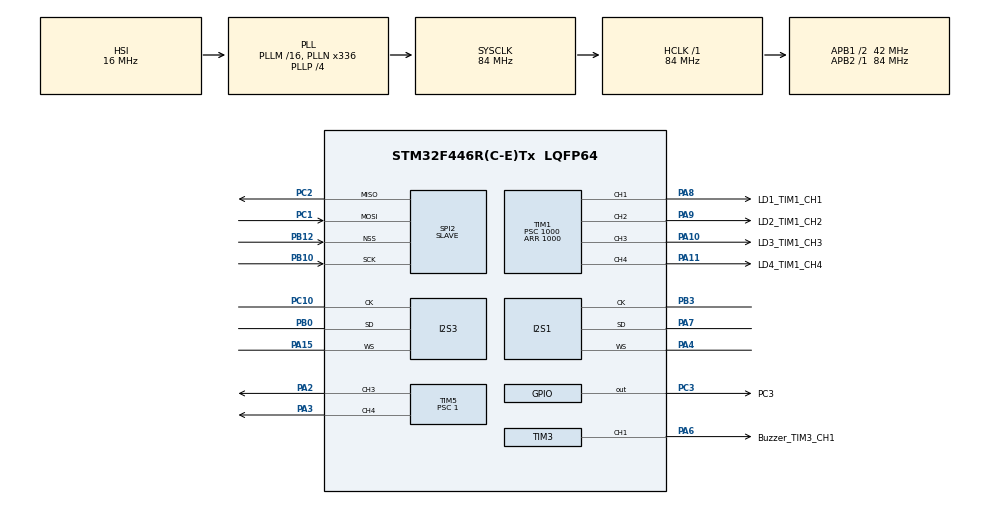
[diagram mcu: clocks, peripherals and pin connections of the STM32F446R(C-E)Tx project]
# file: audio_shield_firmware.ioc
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Dma.Request0=SPI3_RX
Dma.Request1=SPI1_RX
Dma.Request2=SPI2_RX
Dma.Request3=SPI2_TX
Dma.SPI1_RX.1.Direction=DMA_PERIPH_TO_MEMORY
Dma.SPI1_RX.1.FIFOMode=DMA_FIFOMODE_DISABLE
Dma.SPI1_RX.1.Instance=DMA2_Stream0
Dma.SPI1_RX.1.MemDataAlignment=DMA_MDATAALIGN_HALFWORD
Dma.SPI1_RX.1.MemInc=DMA_MINC_ENABLE
Dma.SPI1_RX.1.Mode=DMA_CIRCULAR
Dma.SPI1_RX.1.PeriphDataAlignment=DMA_PDATAALIGN_HALFWORD
Dma.SPI1_RX.1.PeriphInc=DMA_PINC_DISABLE
Dma.SPI1_RX.1.Priority=DMA_PRIORITY_LOW
Dma.SPI2_RX.2.Direction=DMA_PERIPH_TO_MEMORY
Dma.SPI2_RX.2.FIFOMode=DMA_FIFOMODE_DISABLE
Dma.SPI2_RX.2.Instance=DMA1_Stream3
Dma.SPI2_RX.2.MemDataAlignment=DMA_MDATAALIGN_BYTE
Dma.SPI2_RX.2.MemInc=DMA_MINC_ENABLE
Dma.SPI2_RX.2.Mode=DMA_CIRCULAR
Dma.SPI2_RX.2.PeriphDataAlignment=DMA_PDATAALIGN_BYTE
Dma.SPI2_RX.2.PeriphInc=DMA_PINC_DISABLE
Dma.SPI2_RX.2.Priority=DMA_PRIORITY_LOW
Dma.SPI2_TX.3.Direction=DMA_MEMORY_TO_PERIPH
Dma.SPI2_TX.3.FIFOMode=DMA_FIFOMODE_DISABLE
Dma.SPI2_TX.3.Instance=DMA1_Stream4
Dma.SPI2_TX.3.MemDataAlignment=DMA_MDATAALIGN_BYTE
Dma.SPI2_TX.3.MemInc=DMA_MINC_ENABLE
Dma.SPI2_TX.3.Mode=DMA_CIRCULAR
Dma.SPI2_TX.3.PeriphDataAlignment=DMA_PDATAALIGN_BYTE
Dma.SPI2_TX.3.PeriphInc=DMA_PINC_DISABLE
Dma.SPI2_TX.3.Priority=DMA_PRIORITY_LOW
Dma.SPI3_RX.0.Direction=DMA_PERIPH_TO_MEMORY
Dma.SPI3_RX.0.FIFOMode=DMA_FIFOMODE_DISABLE
Dma.SPI3_RX.0.Instance=DMA1_Stream0
Dma.SPI3_RX.0.MemDataAlignment=DMA_MDATAALIGN_HALFWORD
Dma.SPI3_RX.0.MemInc=DMA_MINC_ENABLE
Dma.SPI3_RX.0.Mode=DMA_CIRCULAR
Dma.SPI3_RX.0.PeriphDataAlignment=DMA_PDATAALIGN_HALFWORD
Dma.SPI3_RX.0.PeriphInc=DMA_PINC_DISABLE
Dma.SPI3_RX.0.Priority=DMA_PRIORITY_LOW
I2S1.AudioFreq=I2S_AUDIOFREQ_48K
I2S1.DataFormat=I2S_DATAFORMAT_16B_EXTENDED
I2S1.ErrorAudioFreq=0.8 %
I2S1.FullDuplexMode=I2S_FULLDUPLEXMODE_DISABLE
I2S1.Instance=SPI$Index
I2S1.Mode=I2S_MODE_MASTER_RX
I2S1.RealAudioFreq=48.387 KHz
I2S1.VirtualMode=I2S_MODE_MASTER
I2S3.AudioFreq=I2S_AUDIOFREQ_48K
I2S3.DataFormat=I2S_DATAFORMAT_16B_EXTENDED
I2S3.ErrorAudioFreq=0.8 %
I2S3.FullDuplexMode=I2S_FULLDUPLEXMODE_DISABLE
I2S3.Instance=SPI$Index
I2S3.Mode=I2S_MODE_MASTER_RX
I2S3.RealAudioFreq=48.387 KHz
I2S3.VirtualMode=I2S_MODE_MASTER
Mcu.Family=STM32F4
Mcu.Name=STM32F446R(C-E)Tx
Mcu.Package=LQFP64
NVIC.DMA1_Stream0_IRQn=true\:0\:0\:false\:false\:true\:false\:true
NVIC.DMA1_Stream3_IRQn=true\:0\:0\:false\:false\:true\:false\:true
NVIC.DMA1_Stream4_IRQn=true\:0\:0\:false\:false\:true\:false\:true
NVIC.DMA2_Stream0_IRQn=true\:0\:0\:false\:false\:true\:false\:true
NVIC.PriorityGroup=NVIC_PRIORITYGROUP_0
NVIC.SPI2_IRQn=true\:0\:0\:false\:false\:true\:true\:true
PA10.GPIO_Label=LD3_TIM1_CH3
PA10.Signal=S_TIM1_CH3
PA11.GPIO_Label=LD4_TIM1_CH4
PA11.Signal=S_TIM1_CH4
PA13.GPIO_Label=TMS
PA13.Mode=Serial_Wire
PA13.Signal=SYS_JTMS-SWDIO
PA14.GPIO_Label=TCK
PA14.Mode=Serial_Wire
PA14.Signal=SYS_JTCK-SWCLK
PA15.Mode=Half_Duplex_Master
PA15.Signal=I2S3_WS
PA2.Signal=S_TIM5_CH3
PA3.Signal=S_TIM5_CH4
PA4.Mode=Half_Duplex_Master
PA4.Signal=I2S1_WS
PA6.GPIO_Label=Buzzer_TIM3_CH1
PA6.Signal=S_TIM3_CH1
PA7.Mode=Half_Duplex_Master
PA7.Signal=I2S1_SD
PA8.GPIO_Label=LD1_TIM1_CH1
PA8.Signal=S_TIM1_CH1
PA9.GPIO_Label=LD2_TIM1_CH2
PA9.Signal=S_TIM1_CH2
PB0.Mode=Half_Duplex_Master
PB0.Signal=I2S3_SD
PB10.GPIO_PuPd=GPIO_NOPULL
PB10.Mode=Full_Duplex_Slave
PB10.Signal=SPI2_SCK
PB12.Mode=NSS_Signal_Hard_Input
PB12.Signal=SPI2_NSS
PB3.Mode=Half_Duplex_Master
PB3.Signal=I2S1_CK
PC1.GPIO_PuPd=GPIO_NOPULL
PC1.Mode=Full_Duplex_Slave
PC1.Signal=SPI2_MOSI
PC10.Mode=Half_Duplex_Master
PC10.Signal=I2S3_CK
PC14-OSC32_IN.Mode=LSE-External-Oscillator
PC14-OSC32_IN.Signal=RCC_OSC32_IN
PC15-OSC32_OUT.Mode=LSE-External-Oscillator
PC15-OSC32_OUT.Signal=RCC_OSC32_OUT
PC2.GPIO_PuPd=GPIO_NOPULL
PC2.Mode=Full_Duplex_Slave
PC2.Signal=SPI2_MISO
PC3.GPIO_Label=PC3
PC3.GPIO_Speed=GPIO_SPEED_FREQ_VERY_HIGH
PC3.Signal=GPIO_Output
PH0-OSC_IN.Mode=HSE-External-Oscillator
PH0-OSC_IN.Signal=RCC_OSC_IN
PH1-OSC_OUT.Mode=HSE-External-Oscillator
PH1-OSC_OUT.Signal=RCC_OSC_OUT
ProjectManager.HeapSize=0x200
ProjectManager.StackSize=0x400
ProjectManager.TargetToolchain=STM32CubeIDE
RCC.48MHZClocksFreq_Value=84000000
RCC.AHBFreq_Value=84000000
RCC.APB1CLKDivider=RCC_HCLK_DIV2
RCC.APB1Freq_Value=42000000
RCC.APB1TimFreq_Value=84000000
RCC.APB2Freq_Value=84000000
RCC.APB2TimFreq_Value=84000000
RCC.CortexFreq_Value=84000000
RCC.FLatency-AdvancedSettings=FLASH_LATENCY_2
RCC.HCLKFreq_Value=84000000
RCC.HSE_VALUE=8000000
RCC.HSI_VALUE=16000000
RCC.PLLN=336
RCC.PLLP=RCC_PLLP_DIV4
RCC.SYSCLKFreq_VALUE=84000000
RCC.SYSCLKSource=RCC_SYSCLKSOURCE_PLLCLK
RCC.USBFreq_Value=168000000
RCC.VCOOutputFreq_Value=336000000
SH.S_TIM1_CH1.0=TIM1_CH1,PWM Generation1 CH1
SH.S_TIM1_CH2.0=TIM1_CH2,PWM Generation2 CH2
SH.S_TIM1_CH3.0=TIM1_CH3,PWM Generation3 CH3
SH.S_TIM1_CH4.0=TIM1_CH4,PWM Generation4 CH4
SH.S_TIM3_CH1.0=TIM3_CH1,PWM Generation1 CH1
SH.S_TIM5_CH3.0=TIM5_CH3,PWM Generation3 CH3
SH.S_TIM5_CH4.0=TIM5_CH4,PWM Generation4 CH4
SPI2.DataSize=SPI_DATASIZE_8BIT
SPI2.Direction=SPI_DIRECTION_2LINES
SPI2.Mode=SPI_MODE_SLAVE
SPI2.VirtualNSS=VM_NSSHARD
SPI2.VirtualType=VM_SLAVE
TIM1.Channel-PWM\ Generation1\ CH1=TIM_CHANNEL_1
TIM1.Channel-PWM\ Generation2\ CH2=TIM_CHANNEL_2
TIM1.Channel-PWM\ Generation3\ CH3=TIM_CHANNEL_3
TIM1.Channel-PWM\ Generation4\ CH4=TIM_CHANNEL_4
TIM1.Period=1000
TIM1.Prescaler=1000
TIM2.Period=0xFFFFFFFF
TIM2.Prescaler=84
TIM3.Channel-PWM\ Generation1\ CH1=TIM_CHANNEL_1
TIM3.Period=100
TIM3.Prescaler=1
TIM5.Channel-PWM\ Generation3\ CH3=TIM_CHANNEL_3
TIM5.Channel-PWM\ Generation4\ CH4=TIM_CHANNEL_4
TIM5.Period=100
TIM5.Prescaler=1
VP_TIM1_VS_ClockSourceINT.Mode=Internal
VP_TIM2_VS_ClockSourceINT.Mode=Internal
VP_TIM3_VS_ClockSourceINT.Mode=Internal
VP_TIM5_VS_ClockSourceINT.Mode=Internal
board=NUCLEO-F446RE

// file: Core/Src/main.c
/* USER CODE BEGIN Header */
/**
 ******************************************************************************
 * @file           : main.c
 * @brief          : Main program body
 ******************************************************************************
 * @attention
 *
 * <h2><center>&copy; Copyright (c) 2020 STMicroelectronics.
 * All rights reserved.</center></h2>
 *
 * This software component is licensed by ST under BSD 3-Clause license,
 * the "License"; You may not use this file except in compliance with the
 * License. You may obtain a copy of the License at:
 *                        opensource.org/licenses/BSD-3-Clause
 *
 ******************************************************************************

 *
 */
/* USER CODE END Header */
#include "main.h"

/* USER CODE BEGIN Includes */
#include "math.h"
#include "arm_const_structs.h"

#include "hann_window.h"
#include "flattop_window.h"
#include "tukey_window.h"
#include "sound.h"
#include "led.h"
#include "piezo.h"

/* USER CODE END Includes */

/* USER CODE BEGIN PTD */

#include <stdio.h>
#include <stdlib.h>
#include <assert.h>

/* USER CODE END PTD */

/* USER CODE BEGIN PD */

#define DCNotchActivated 1

#define FFTSIZE 512 // number of complex-valued FFT coefficients
#define N_BUFFER (FFTSIZE * 2) // 2 for complex
#define TWO_N_BUFFER (N_BUFFER * 2) // 2 for left + right microphones

// constants
#define N_MOTORS 4 // number of motors
#define N_MICS 4 // number of microphones

//the "f" is super important! otherwise it is a double, and division by double takes too long
#define MAX_INT16 32767.0f // max for int16 (2**15-1).
#define MAX_UINT16 65535.0f // max for uint16 (2**15-1).

#define FLOAT_PRECISION 4 // float32_t = 4 bytes
#define INT16_PRECISION 2 // int16 = 2 bytes
#define N_COMPLEX 2 // [real imag]

#define FFTSIZE_SENT 32 // number of frequency bins to select
#define FFTSIZE_HALF 16 // for filter_snr = 3, number of bins to send before buzzer bin

// processing
#define N_PROP_FACTORS 30
#define FS I2S_AUDIOFREQ_48K
#define DF (FS/N_BUFFER)
#define WINDOW_FREQS 10 // number of frequencies to consider above and below current frequency, to find max
#define IIR_ALPHA 0.5 // set to 1 for no effect (equivalent to removing IIR_FILTERING flag)

// communication
// in uint16, min_freq, max_freq, buzzer_idx, n_average, delta_freq, snr_enable, propeller_enable, window, tot = 8
#define PARAMS_N_INT16 (N_MOTORS + 8)
#define CHECKSUM_VALUE (0xAC)

#define AUDIO_N_BYTES (N_MICS * FFTSIZE_SENT * FLOAT_PRECISION * N_COMPLEX)
#define FBINS_N_BYTES (FFTSIZE_SENT * INT16_PRECISION)
#define SPI_N_BYTES (AUDIO_N_BYTES + FBINS_N_BYTES + 4 + 1) // + 4 for timestamp, + 1 for checksum

/* USER CODE END PD */

/* USER CODE BEGIN PM */

// Timing tool using TIM2 in counter mode with us timebase.
// @formatter:off
#define STOPCHRONO ({\
		time_us = __HAL_TIM_GET_COUNTER(&htim2);\
		HAL_TIM_Base_Stop(&htim2);\
		HAL_TIM_Base_Init(&htim2);\
		HAL_TIM_Base_Start(&htim2);\
})

 #define min(a,b) ({\
	__typeof__ (a) _a = (a); \
	__typeof__ (b) _b = (b);\
   _a < _b ? _a : _b;\
})

 #define max(a,b) ({\
	__typeof__ (a) _a = (a); \
	__typeof__ (b) _b = (b);\
   _a > _b ? _a : _b;\
})

// @formatter:on
/* USER CODE END PM */

I2S_HandleTypeDef hi2s1;
I2S_HandleTypeDef hi2s3;
DMA_HandleTypeDef hdma_spi1_rx;
DMA_HandleTypeDef hdma_spi3_rx;

SPI_HandleTypeDef hspi2;
DMA_HandleTypeDef hdma_spi2_rx;
DMA_HandleTypeDef hdma_spi2_tx;

TIM_HandleTypeDef htim1;
TIM_HandleTypeDef htim2;
TIM_HandleTypeDef htim3;
TIM_HandleTypeDef htim5;

/* USER CODE BEGIN PV */

// data vectors
uint16_t dma_1[TWO_N_BUFFER];
uint16_t dma_3[TWO_N_BUFFER];

float32_t mk2[N_BUFFER];
float32_t mk1[N_BUFFER];
float32_t mk4[N_BUFFER];
float32_t mk3[N_BUFFER];

#include "hann_window.h"
#include "tukey_window.h"
#include "flattop_window.h"

float32_t mk2_f[N_BUFFER]; // Complex type to feed rfft [real1, imag1, real2, imag2, ...]
float32_t mk4_f[N_BUFFER];
float32_t mk1_f[N_BUFFER];
float32_t mk3_f[N_BUFFER];

float32_t mics_f_all[N_MICS * N_COMPLEX * FFTSIZE_SENT];

//#define BUZZER_CHANGE_BY_TIMER

uint16_t current_frequency = 0;
uint8_t wait_to_send = 1;
uint32_t note_tickstart;
int8_t melody_index = 0;
uint8_t note_index = 0;
uint16_t i_array;

state_note_t state_note_sm = BUZZER_IDLE;

uint8_t spi_tx_buffer[SPI_N_BYTES];
uint8_t spi_rx_buffer[SPI_N_BYTES];

float32_t magnitude_mk2[FFTSIZE];
uint16_t selected_indices[FFTSIZE_SENT];

// parameters
uint16_t param_array[PARAMS_N_INT16];
uint16_t filter_prop_enable = 1;
uint16_t bin_selection = 3;
uint16_t window_type = 0; // windowing scheme, 0: none, 1: hann, 2: flattop, 3: tukey(0.2)
uint16_t min_freq = 0;
uint16_t max_freq = 0;
uint16_t buzzer_idx = 0;
uint16_t delta_freq = 100;
uint16_t n_average = 1; // number of frequency bins to average.

// audio processing
uint32_t timestamp;
uint32_t ifft_flag = 0; // do rFFT not irFFT
uint8_t flag_fft_processing = 0;
uint8_t new_sample_to_process = 0;
uint8_t init_stage_iir = 1;
uint16_t n_added = 0; // counter of how many samples were averaged.
float32_t prop_freq = 0;
arm_rfft_fast_instance_f32 rfft_instance;
int16_t *tapering_window;
uint16_t buzzer_idx_old = 0;
uint16_t buzzer_wait_counter;

// debugging
uint32_t last_update_spi = 0;
uint8_t retval = 0;
uint32_t counter_error = 0;
uint32_t counter_ok = 0;
volatile int32_t time_us;
//volatile int32_t time_spi_error;
//volatile int32_t time_spi_ok;

/* USER CODE END PV */

void SystemClock_Config(void);
void PeriphCommonClock_Config(void);
static void MX_GPIO_Init(void);
static void MX_DMA_Init(void);
static void MX_I2S3_Init(void);
static void MX_TIM2_Init(void);
static void MX_I2S1_Init(void);
static void MX_SPI2_Init(void);
static void MX_TIM5_Init(void);
static void MX_TIM1_Init(void);
static void MX_TIM3_Init(void);
/* USER CODE BEGIN PFP */

struct index_amplitude {
	float32_t amplitude;
	int index;
};

void process(uint16_t *pIn, float32_t *pOut1, float32_t *pOut2);
void frequency_bin_selection(uint16_t *selected_indices);
uint8_t fill_tx_buffer();
void read_rx_buffer();
int compare_amplitudes(const void *a, const void *b);
float32_t abs_value_squared(float32_t real_imag[]);

/* USER CODE END PFP */

/* USER CODE BEGIN 0 */

/*
void HAL_I2S_RxHalfCpltCallback(I2S_HandleTypeDef *hi2s) {
	if (hi2s->Instance == hi2s1.Instance) {
		process(dma_1, mic3, mic2);
	} else {
		process(dma_3, mic1, mic0);
	}
}

void HAL_I2S_RxCpltCallback(I2S_HandleTypeDef *hi2s) {
	if (hi2s->Instance == hi2s1.Instance) {
		process(&dma_1[N_BUFFER], mic3, mic2);
	} else {
		process(&dma_3[N_BUFFER], mic1, mic0);
	}
}
*/
void HAL_I2S_RxCpltCallback(I2S_HandleTypeDef *hi2s) {

	if (hi2s->Instance == hi2s1.Instance) {
		process(dma_1, mk4, mk3);
	} else {
		process(dma_3, mk2, mk1);
	}
}

void HAL_SPI_TxRxCpltCallback(SPI_HandleTypeDef *hspi) {
	if ((spi_rx_buffer[SPI_N_BYTES - 1] != CHECKSUM_VALUE)) {
		//STOPCHRONO;
		//time_spi_error = time_us;
		counter_error += 1;
	} else {
		last_update_spi = HAL_GetTick();

		// Set the CHECKSUM to 0 so that if we communicate during filling,
		// the package is not valid
		spi_tx_buffer[SPI_N_BYTES - 1] = 0;

		wait_to_send = 0;

		//STOPCHRONO;
		//time_spi_ok = time_us;
		counter_ok += 1;
	}
	// Note that we do not need to restart the transmission by calling
	// HAL_SPI_TransmitReceive_DMA again, because the buffer is circular.
}

/* USER CODE END 0 */

int main(void)
{

  /* MCU Configuration--------------------------------------------------------*/

  /* Reset of all peripherals, Initializes the Flash interface and the Systick. */
  HAL_Init();

  /* Configure the system clock */
  SystemClock_Config();

/* Configure the peripherals common clocks */
  PeriphCommonClock_Config();

  /* Initialize all configured peripherals */
  MX_GPIO_Init();
  MX_DMA_Init();
  MX_I2S3_Init();
  MX_TIM2_Init();
  MX_I2S1_Init();
  MX_SPI2_Init();
  MX_TIM5_Init();
  MX_TIM1_Init();
  MX_TIM3_Init();
  /* USER CODE BEGIN 2 */

	// Start audio capture
	HAL_I2S_Receive_DMA(&hi2s1, (uint16_t*) dma_1, TWO_N_BUFFER);
	HAL_I2S_Receive_DMA(&hi2s3, (uint16_t*) dma_3, TWO_N_BUFFER);

	// Reset memory
	memset(selected_indices, 0x00, sizeof(selected_indices));
	memset(magnitude_mk2, 0x00, sizeof(magnitude_mk2));
	memset(spi_tx_buffer, 0x00, sizeof(spi_tx_buffer));
	spi_tx_buffer[SPI_N_BYTES - 1] = CHECKSUM_VALUE;

	// Start timers
	HAL_TIM_Base_Init(&htim2); // debug timer
	HAL_TIM_Base_Start(&htim2);
	timestamp = 0;

	HAL_TIM_Base_Init(&htim3); // debug timer
	HAL_TIM_Base_Start(&htim3);

	// Piezo buzzer initialization
	piezoInit();

#ifdef FIXED_PERIOD
	piezoSetMaxCount(BUZZER_ARR);
	piezoSetRatio(BUZZER_ARR / BUZZER_RATIO - 1);
#endif

	// Led initialization and wake-up sequence
	ledInit(); // uses htim1
	ledSetMaxCount(100);
	for (uint8_t i = 1; i <= 4; i++) {
		piezoSetPSC(freq_list_tim[melodies[0].notes[i - 1]].PSC); // Buzzer follows led sequence

#ifndef FIXED_PERIOD
		piezoSetMaxCount(freq_list_tim[melodies[0].notes[i - 1]].ARR); // Buzzer follows led sequence
		piezoSetRatio(freq_list_tim[melodies[0].notes[i - 1]].ARR / BUZZER_RATIO - 1); // Buzzer follows led sequence
		piezoStart();
#endif

		for (uint8_t j = 0; j < 100; j++) {
			ledSetRatio(j, i);
			HAL_Delay(1);
		}
		for (uint8_t j = 100; j > 0; j--) {
			ledSetRatio(j, i);
			HAL_Delay(1);
		}
		ledSetRatio(100, i);
	}
	piezoSetPSC(0);

	// Super important! We need to wait until the bus is idle, otherwise
	// there is a random shift in the spi_rx_buffer and spi_tx_buffer.
	while (HAL_GPIO_ReadPin(GPIOB, GPIO_PIN_12) == GPIO_PIN_RESET) {};
	retval = HAL_SPI_TransmitReceive_DMA(&hspi2, spi_tx_buffer, spi_rx_buffer,
	SPI_N_BYTES);

  /* USER CODE END 2 */

  /* Infinite loop */
	while (1) {

    /* USER CODE BEGIN 3 */
		read_rx_buffer();

		if (buzzer_idx == 0 && state_note_sm != BUZZER_IDLE) {
			state_note_sm = BUZZER_STOP;
		}

		// Monitoring
		// TODO: Upgrade led reactions
		ledSetMaxCount(2000);
		if (last_update_spi > (HAL_GetTick() - 3000)) {
			ledSetRatio((uint16_t) abs(dma_1[0]), 1);
		} else {
			ledSetRatio(0, 1);
		}
		ledSetRatio((uint16_t) abs(dma_1[1]), 2);
		ledSetRatio((uint16_t) abs(dma_3[0]), 3);
		ledSetRatio((uint16_t) abs(dma_3[1]), 4);

		switch (state_note_sm) {
		case BUZZER_IDLE:

			// start condition detection
			if ((buzzer_idx != 0) & (buzzer_idx != buzzer_idx_old)) {
				melody_index = -1;
				for (int i = 0; i < MELODIES_COUNT; i++) {
					if (melodies[i].index == buzzer_idx) {
						melody_index = i;
						break;
					}
				}

				if (melody_index >= 0) {
					note_index = 0;
					state_note_sm = BUZZER_PLAY_NEXT;
				}
			}
			buzzer_idx_old = buzzer_idx;

			break;
		case BUZZER_PLAY_NEXT:
			;
			freq_list_t next_note = freq_list_tim[melodies[melody_index].notes[note_index]];
			current_frequency = next_note.f;

			//piezoInit();
			piezoSetPSC(next_note.PSC);
#ifndef FIXED_PERIOD
			piezoSetMaxCount(next_note.ARR);
			piezoSetRatio(next_note.ARR / BUZZER_RATIO - 1);
			piezoStart();
#endif
			memset(mics_f_all, 0x00, sizeof(mics_f_all));

			note_tickstart = HAL_GetTick();
			state_note_sm = BUZZER_WAIT_REC;

			break;
		case BUZZER_WAIT_REC:
			if (note_tickstart + BUZZER_DELAY < HAL_GetTick()) {
				note_tickstart = HAL_GetTick();

				// make sure we don't use the sample from the
				// frequency that played before.
				new_sample_to_process = 0;
				HAL_I2S_Receive_DMA(&hi2s1, (uint16_t*) dma_1, TWO_N_BUFFER);
				HAL_I2S_Receive_DMA(&hi2s3, (uint16_t*) dma_3, TWO_N_BUFFER);

				state_note_sm = BUZZER_RECORD;
			}
			break;
		case BUZZER_RECORD:
			// we have a new sample to process and want to add it to the buffer
			// need > 1 because we need the two I2S data streams.
			if (new_sample_to_process > 1) {
				flag_fft_processing = 1;
				timestamp = HAL_GetTick();

				// Compute FFT
				// Note that arm_rfft_fast_f32 may modify mk1, mk2
				arm_rfft_fast_init_f32(&rfft_instance, N_BUFFER);
				arm_rfft_fast_f32(&rfft_instance, mk1, mk1_f, ifft_flag);
				arm_rfft_fast_init_f32(&rfft_instance, N_BUFFER);
				arm_rfft_fast_f32(&rfft_instance, mk2, mk2_f, ifft_flag);
				arm_rfft_fast_init_f32(&rfft_instance, N_BUFFER);
				arm_rfft_fast_f32(&rfft_instance, mk3, mk3_f, ifft_flag);
				arm_rfft_fast_init_f32(&rfft_instance, N_BUFFER);
				arm_rfft_fast_f32(&rfft_instance, mk4, mk4_f, ifft_flag);

				flag_fft_processing = 0;

				/* process the data through the Complex Magnitude Module for
				 calculating the magnitude at each bin */
				arm_cmplx_mag_f32(mk2_f, magnitude_mk2, FFTSIZE);

				if (fill_tx_buffer()) {
					state_note_sm = BUZZER_WAIT_SEND;
					wait_to_send = 1;
					buzzer_wait_counter = 0;
				}
				else {
					state_note_sm = BUZZER_CHOOSE_NEXT;
				}
			} else {
				// Restart acquisition process
				new_sample_to_process = 0;
				HAL_I2S_Receive_DMA(&hi2s1, (uint16_t*) dma_1, TWO_N_BUFFER);
				HAL_I2S_Receive_DMA(&hi2s3, (uint16_t*) dma_3, TWO_N_BUFFER);
			}
			break;
		case BUZZER_WAIT_SEND:

			if (wait_to_send & (buzzer_wait_counter < BUZZER_WAIT_TIMEOUT)) {
				buzzer_wait_counter++;
				break;
			}

			state_note_sm = BUZZER_CHOOSE_NEXT;
			break;

		case BUZZER_CHOOSE_NEXT:

			// wait until we sent also the last package

			note_index++;

			// point to next element and get its value.
			int16_t frequency_index = melodies[melody_index].notes[note_index];

			if (frequency_index == STOP) {

				state_note_sm = BUZZER_STOP;

			} else if (frequency_index == REPEAT) {
				// go back to beginning of melody
				note_index = 0;

				state_note_sm = BUZZER_PLAY_NEXT;
			} else {
				state_note_sm = BUZZER_PLAY_NEXT;
			}
			break;
		case BUZZER_STOP:

			piezoSetPSC(0);

			memset(spi_tx_buffer, 0x00, sizeof(spi_tx_buffer));
			spi_tx_buffer[SPI_N_BYTES - 1] = CHECKSUM_VALUE;
			state_note_sm = BUZZER_IDLE;

			break;
		default:
			break;
		}
	}
  /* USER CODE END 3 */
}

void SystemClock_Config(void)
{
  RCC_OscInitTypeDef RCC_OscInitStruct = {0};
  RCC_ClkInitTypeDef RCC_ClkInitStruct = {0};

  /** Configure the main internal regulator output voltage
  */
  __HAL_RCC_PWR_CLK_ENABLE();
  __HAL_PWR_VOLTAGESCALING_CONFIG(PWR_REGULATOR_VOLTAGE_SCALE3);
  /** Initializes the RCC Oscillators according to the specified parameters
  * in the RCC_OscInitTypeDef structure.
  */
  RCC_OscInitStruct.OscillatorType = RCC_OSCILLATORTYPE_HSI;
  RCC_OscInitStruct.HSIState = RCC_HSI_ON;
  RCC_OscInitStruct.HSICalibrationValue = RCC_HSICALIBRATION_DEFAULT;
  RCC_OscInitStruct.PLL.PLLState = RCC_PLL_ON;
  RCC_OscInitStruct.PLL.PLLSource = RCC_PLLSOURCE_HSI;
  RCC_OscInitStruct.PLL.PLLM = 16;
  RCC_OscInitStruct.PLL.PLLN = 336;
  RCC_OscInitStruct.PLL.PLLP = RCC_PLLP_DIV4;
  RCC_OscInitStruct.PLL.PLLQ = 2;
  RCC_OscInitStruct.PLL.PLLR = 2;
  if (HAL_RCC_OscConfig(&RCC_OscInitStruct) != HAL_OK)
  {
    Error_Handler();
  }
  /** Initializes the CPU, AHB and APB buses clocks
  */
  RCC_ClkInitStruct.ClockType = RCC_CLOCKTYPE_HCLK|RCC_CLOCKTYPE_SYSCLK
                              |RCC_CLOCKTYPE_PCLK1|RCC_CLOCKTYPE_PCLK2;
  RCC_ClkInitStruct.SYSCLKSource = RCC_SYSCLKSOURCE_PLLCLK;
  RCC_ClkInitStruct.AHBCLKDivider = RCC_SYSCLK_DIV1;
  RCC_ClkInitStruct.APB1CLKDivider = RCC_HCLK_DIV2;
  RCC_ClkInitStruct.APB2CLKDivider = RCC_HCLK_DIV1;

  if (HAL_RCC_ClockConfig(&RCC_ClkInitStruct, FLASH_LATENCY_2) != HAL_OK)
  {
    Error_Handler();
  }
}

void PeriphCommonClock_Config(void)
{
  RCC_PeriphCLKInitTypeDef PeriphClkInitStruct = {0};

  /** Initializes the peripherals clock
  */
  PeriphClkInitStruct.PeriphClockSelection = RCC_PERIPHCLK_I2S_APB1|RCC_PERIPHCLK_I2S_APB2;
  PeriphClkInitStruct.PLLI2S.PLLI2SN = 192;
  PeriphClkInitStruct.PLLI2S.PLLI2SP = RCC_PLLI2SP_DIV2;
  PeriphClkInitStruct.PLLI2S.PLLI2SM = 16;
  PeriphClkInitStruct.PLLI2S.PLLI2SR = 2;
  PeriphClkInitStruct.PLLI2S.PLLI2SQ = 2;
  PeriphClkInitStruct.PLLI2SDivQ = 1;
  PeriphClkInitStruct.I2sApb2ClockSelection = RCC_I2SAPB2CLKSOURCE_PLLI2S;
  PeriphClkInitStruct.I2sApb1ClockSelection = RCC_I2SAPB1CLKSOURCE_PLLI2S;
  if (HAL_RCCEx_PeriphCLKConfig(&PeriphClkInitStruct) != HAL_OK)
  {
    Error_Handler();
  }
}

static void MX_I2S1_Init(void)
{

  hi2s1.Instance = SPI1;
  hi2s1.Init.Mode = I2S_MODE_MASTER_RX;
  hi2s1.Init.Standard = I2S_STANDARD_PHILIPS;
  hi2s1.Init.DataFormat = I2S_DATAFORMAT_16B_EXTENDED;
  hi2s1.Init.MCLKOutput = I2S_MCLKOUTPUT_DISABLE;
  hi2s1.Init.AudioFreq = I2S_AUDIOFREQ_48K;
  hi2s1.Init.CPOL = I2S_CPOL_LOW;
  hi2s1.Init.ClockSource = I2S_CLOCK_PLL;
  hi2s1.Init.FullDuplexMode = I2S_FULLDUPLEXMODE_DISABLE;
  if (HAL_I2S_Init(&hi2s1) != HAL_OK)
  {
    Error_Handler();
  }

}

static void MX_I2S3_Init(void)
{

  hi2s3.Instance = SPI3;
  hi2s3.Init.Mode = I2S_MODE_MASTER_RX;
  hi2s3.Init.Standard = I2S_STANDARD_PHILIPS;
  hi2s3.Init.DataFormat = I2S_DATAFORMAT_16B_EXTENDED;
  hi2s3.Init.MCLKOutput = I2S_MCLKOUTPUT_DISABLE;
  hi2s3.Init.AudioFreq = I2S_AUDIOFREQ_48K;
  hi2s3.Init.CPOL = I2S_CPOL_LOW;
  hi2s3.Init.ClockSource = I2S_CLOCK_PLL;
  hi2s3.Init.FullDuplexMode = I2S_FULLDUPLEXMODE_DISABLE;
  if (HAL_I2S_Init(&hi2s3) != HAL_OK)
  {
    Error_Handler();
  }

}

static void MX_SPI2_Init(void)
{

  /* SPI2 parameter configuration*/
  hspi2.Instance = SPI2;
  hspi2.Init.Mode = SPI_MODE_SLAVE;
  hspi2.Init.Direction = SPI_DIRECTION_2LINES;
  hspi2.Init.DataSize = SPI_DATASIZE_8BIT;
  hspi2.Init.CLKPolarity = SPI_POLARITY_LOW;
  hspi2.Init.CLKPhase = SPI_PHASE_1EDGE;
  hspi2.Init.NSS = SPI_NSS_HARD_INPUT;
  hspi2.Init.FirstBit = SPI_FIRSTBIT_MSB;
  hspi2.Init.TIMode = SPI_TIMODE_DISABLE;
  hspi2.Init.CRCCalculation = SPI_CRCCALCULATION_DISABLE;
  hspi2.Init.CRCPolynomial = 10;
  if (HAL_SPI_Init(&hspi2) != HAL_OK)
  {
    Error_Handler();
  }

}

static void MX_TIM1_Init(void)
{

  TIM_ClockConfigTypeDef sClockSourceConfig = {0};
  TIM_MasterConfigTypeDef sMasterConfig = {0};
  TIM_OC_InitTypeDef sConfigOC = {0};
  TIM_BreakDeadTimeConfigTypeDef sBreakDeadTimeConfig = {0};

  htim1.Instance = TIM1;
  htim1.Init.Prescaler = 1000;
  htim1.Init.CounterMode = TIM_COUNTERMODE_UP;
  htim1.Init.Period = 1000;
  htim1.Init.ClockDivision = TIM_CLOCKDIVISION_DIV1;
  htim1.Init.RepetitionCounter = 0;
  htim1.Init.AutoReloadPreload = TIM_AUTORELOAD_PRELOAD_DISABLE;
  if (HAL_TIM_Base_Init(&htim1) != HAL_OK)
  {
    Error_Handler();
  }
  sClockSourceConfig.ClockSource = TIM_CLOCKSOURCE_INTERNAL;
  if (HAL_TIM_ConfigClockSource(&htim1, &sClockSourceConfig) != HAL_OK)
  {
    Error_Handler();
  }
  if (HAL_TIM_PWM_Init(&htim1) != HAL_OK)
  {
    Error_Handler();
  }
  sMasterConfig.MasterOutputTrigger = TIM_TRGO_RESET;
  sMasterConfig.MasterSlaveMode = TIM_MASTERSLAVEMODE_DISABLE;
  if (HAL_TIMEx_MasterConfigSynchronization(&htim1, &sMasterConfig) != HAL_OK)
  {
    Error_Handler();
  }
  sConfigOC.OCMode = TIM_OCMODE_PWM1;
  sConfigOC.Pulse = 0;
  sConfigOC.OCPolarity = TIM_OCPOLARITY_HIGH;
  sConfigOC.OCNPolarity = TIM_OCNPOLARITY_HIGH;
  sConfigOC.OCFastMode = TIM_OCFAST_DISABLE;
  sConfigOC.OCIdleState = TIM_OCIDLESTATE_RESET;
  sConfigOC.OCNIdleState = TIM_OCNIDLESTATE_RESET;
  if (HAL_TIM_PWM_ConfigChannel(&htim1, &sConfigOC, TIM_CHANNEL_1) != HAL_OK)
  {
    Error_Handler();
  }
  if (HAL_TIM_PWM_ConfigChannel(&htim1, &sConfigOC, TIM_CHANNEL_2) != HAL_OK)
  {
    Error_Handler();
  }
  if (HAL_TIM_PWM_ConfigChannel(&htim1, &sConfigOC, TIM_CHANNEL_3) != HAL_OK)
  {
    Error_Handler();
  }
  if (HAL_TIM_PWM_ConfigChannel(&htim1, &sConfigOC, TIM_CHANNEL_4) != HAL_OK)
  {
    Error_Handler();
  }
  sBreakDeadTimeConfig.OffStateRunMode = TIM_OSSR_DISABLE;
  sBreakDeadTimeConfig.OffStateIDLEMode = TIM_OSSI_DISABLE;
  sBreakDeadTimeConfig.LockLevel = TIM_LOCKLEVEL_OFF;
  sBreakDeadTimeConfig.DeadTime = 0;
  sBreakDeadTimeConfig.BreakState = TIM_BREAK_DISABLE;
  sBreakDeadTimeConfig.BreakPolarity = TIM_BREAKPOLARITY_HIGH;
  sBreakDeadTimeConfig.AutomaticOutput = TIM_AUTOMATICOUTPUT_DISABLE;
  if (HAL_TIMEx_ConfigBreakDeadTime(&htim1, &sBreakDeadTimeConfig) != HAL_OK)
  {
    Error_Handler();
  }
  HAL_TIM_MspPostInit(&htim1);

}

static void MX_TIM2_Init(void)
{

  TIM_ClockConfigTypeDef sClockSourceConfig = {0};
  TIM_MasterConfigTypeDef sMasterConfig = {0};

  htim2.Instance = TIM2;
  htim2.Init.Prescaler = 84;
  htim2.Init.CounterMode = TIM_COUNTERMODE_UP;
  htim2.Init.Period = 0xFFFFFFFF;
  htim2.Init.ClockDivision = TIM_CLOCKDIVISION_DIV1;
  htim2.Init.AutoReloadPreload = TIM_AUTORELOAD_PRELOAD_DISABLE;
  if (HAL_TIM_Base_Init(&htim2) != HAL_OK)
  {
    Error_Handler();
  }
  sClockSourceConfig.ClockSource = TIM_CLOCKSOURCE_INTERNAL;
  if (HAL_TIM_ConfigClockSource(&htim2, &sClockSourceConfig) != HAL_OK)
  {
    Error_Handler();
  }
  sMasterConfig.MasterOutputTrigger = TIM_TRGO_RESET;
  sMasterConfig.MasterSlaveMode = TIM_MASTERSLAVEMODE_DISABLE;
  if (HAL_TIMEx_MasterConfigSynchronization(&htim2, &sMasterConfig) != HAL_OK)
  {
    Error_Handler();
  }

}

static void MX_TIM3_Init(void)
{

  TIM_ClockConfigTypeDef sClockSourceConfig = {0};
  TIM_MasterConfigTypeDef sMasterConfig = {0};
  TIM_OC_InitTypeDef sConfigOC = {0};

  htim3.Instance = TIM3;
  htim3.Init.Prescaler = 1;
  htim3.Init.CounterMode = TIM_COUNTERMODE_UP;
  htim3.Init.Period = 100;
  htim3.Init.ClockDivision = TIM_CLOCKDIVISION_DIV1;
  htim3.Init.AutoReloadPreload = TIM_AUTORELOAD_PRELOAD_DISABLE;
  if (HAL_TIM_Base_Init(&htim3) != HAL_OK)
  {
    Error_Handler();
  }
  sClockSourceConfig.ClockSource = TIM_CLOCKSOURCE_INTERNAL;
  if (HAL_TIM_ConfigClockSource(&htim3, &sClockSourceConfig) != HAL_OK)
  {
    Error_Handler();
  }
  if (HAL_TIM_PWM_Init(&htim3) != HAL_OK)
  {
    Error_Handler();
  }
  sMasterConfig.MasterOutputTrigger = TIM_TRGO_RESET;
  sMasterConfig.MasterSlaveMode = TIM_MASTERSLAVEMODE_DISABLE;
  if (HAL_TIMEx_MasterConfigSynchronization(&htim3, &sMasterConfig) != HAL_OK)
  {
    Error_Handler();
  }
  sConfigOC.OCMode = TIM_OCMODE_PWM1;
  sConfigOC.Pulse = 0;
  sConfigOC.OCPolarity = TIM_OCPOLARITY_HIGH;
  sConfigOC.OCFastMode = TIM_OCFAST_DISABLE;
  if (HAL_TIM_PWM_ConfigChannel(&htim3, &sConfigOC, TIM_CHANNEL_1) != HAL_OK)
  {
    Error_Handler();
  }
  HAL_TIM_MspPostInit(&htim3);

}

static void MX_TIM5_Init(void)
{

  TIM_ClockConfigTypeDef sClockSourceConfig = {0};
  TIM_MasterConfigTypeDef sMasterConfig = {0};
  TIM_OC_InitTypeDef sConfigOC = {0};

  htim5.Instance = TIM5;
  htim5.Init.Prescaler = 1;
  htim5.Init.CounterMode = TIM_COUNTERMODE_UP;
  htim5.Init.Period = 100;
  htim5.Init.ClockDivision = TIM_CLOCKDIVISION_DIV1;
  htim5.Init.AutoReloadPreload = TIM_AUTORELOAD_PRELOAD_DISABLE;
  if (HAL_TIM_Base_Init(&htim5) != HAL_OK)
  {
    Error_Handler();
  }
  sClockSourceConfig.ClockSource = TIM_CLOCKSOURCE_INTERNAL;
  if (HAL_TIM_ConfigClockSource(&htim5, &sClockSourceConfig) != HAL_OK)
  {
    Error_Handler();
  }
  if (HAL_TIM_PWM_Init(&htim5) != HAL_OK)
  {
    Error_Handler();
  }
  sMasterConfig.MasterOutputTrigger = TIM_TRGO_RESET;
  sMasterConfig.MasterSlaveMode = TIM_MASTERSLAVEMODE_DISABLE;
  if (HAL_TIMEx_MasterConfigSynchronization(&htim5, &sMasterConfig) != HAL_OK)
  {
    Error_Handler();
  }
  sConfigOC.OCMode = TIM_OCMODE_PWM1;
  sConfigOC.Pulse = 0;
  sConfigOC.OCPolarity = TIM_OCPOLARITY_HIGH;
  sConfigOC.OCFastMode = TIM_OCFAST_DISABLE;
  if (HAL_TIM_PWM_ConfigChannel(&htim5, &sConfigOC, TIM_CHANNEL_3) != HAL_OK)
  {
    Error_Handler();
  }
  if (HAL_TIM_PWM_ConfigChannel(&htim5, &sConfigOC, TIM_CHANNEL_4) != HAL_OK)
  {
    Error_Handler();
  }
  HAL_TIM_MspPostInit(&htim5);

}

static void MX_DMA_Init(void)
{

  /* DMA controller clock enable */
  __HAL_RCC_DMA1_CLK_ENABLE();
  __HAL_RCC_DMA2_CLK_ENABLE();

  /* DMA interrupt init */
  /* DMA1_Stream0_IRQn interrupt configuration */
  HAL_NVIC_SetPriority(DMA1_Stream0_IRQn, 0, 0);
  HAL_NVIC_EnableIRQ(DMA1_Stream0_IRQn);
  /* DMA1_Stream3_IRQn interrupt configuration */
  HAL_NVIC_SetPriority(DMA1_Stream3_IRQn, 0, 0);
  HAL_NVIC_EnableIRQ(DMA1_Stream3_IRQn);
  /* DMA1_Stream4_IRQn interrupt configuration */
  HAL_NVIC_SetPriority(DMA1_Stream4_IRQn, 0, 0);
  HAL_NVIC_EnableIRQ(DMA1_Stream4_IRQn);
  /* DMA2_Stream0_IRQn interrupt configuration */
  HAL_NVIC_SetPriority(DMA2_Stream0_IRQn, 0, 0);
  HAL_NVIC_EnableIRQ(DMA2_Stream0_IRQn);

}

static void MX_GPIO_Init(void)
{
  GPIO_InitTypeDef GPIO_InitStruct = {0};

  /* GPIO Ports Clock Enable */
  __HAL_RCC_GPIOC_CLK_ENABLE();
  __HAL_RCC_GPIOH_CLK_ENABLE();
  __HAL_RCC_GPIOA_CLK_ENABLE();
  __HAL_RCC_GPIOB_CLK_ENABLE();

  /*Configure GPIO pin Output Level */
  HAL_GPIO_WritePin(PC3_GPIO_Port, PC3_Pin, GPIO_PIN_RESET);

  /*Configure GPIO pin : PC3_Pin */
  GPIO_InitStruct.Pin = PC3_Pin;
  GPIO_InitStruct.Mode = GPIO_MODE_OUTPUT_PP;
  GPIO_InitStruct.Pull = GPIO_NOPULL;
  GPIO_InitStruct.Speed = GPIO_SPEED_FREQ_VERY_HIGH;
  HAL_GPIO_Init(PC3_GPIO_Port, &GPIO_InitStruct);

}

/* USER CODE BEGIN 4 */
#if DCNotchActivated
static inline int16_t DCNotch(uint16_t x, uint8_t filter_index) {
	static int16_t x_prev[4] = { 0, 0, 0, 0 };
	static int16_t y_prev[4] = { 0, 0, 0, 0 };
	if (filter_index == 10) {
		memset(x_prev, 0x00, sizeof(x_prev));
		memset(y_prev, 0x00, sizeof(y_prev));
	}

	y_prev[filter_index] = (((int32_t) y_prev[filter_index] * 0x00007999) >> 16) - x_prev[filter_index] + x;
	x_prev[filter_index] = x;
	return y_prev[filter_index];
}
#endif

void inline process(uint16_t *pIn, float32_t *pOut1, float32_t *pOut2) {
	float32_t window_value;

	// pIn is of size TWO_N_BUFFER, because we have left and right mic.
	// each pOut is of size N_BUFFER.

	// Do not interrupt FFT processing.
	if (flag_fft_processing == 0) {

		for (uint16_t i = 0; i < N_BUFFER; i += 1) {
			if (window_type > 0) {
				window_value = (float32_t) tapering_window[i] / MAX_INT16;
			} else {
				window_value = 1.0;
			}

#if DCNotchActivated
			if (pIn == dma_1) {
				*pOut1++ = (float32_t) DCNotch(*pIn++, 0) / MAX_UINT16 * window_value;
				*pOut2++ = (float32_t) DCNotch(*pIn++, 1) / MAX_UINT16 * window_value;
			} else { // pIn == dma_3
				*pOut1++ = (float32_t) DCNotch(*pIn++, 2) / MAX_UINT16 * window_value;
				*pOut2++ = (float32_t) DCNotch(*pIn++, 3) / MAX_UINT16 * window_value;
			};
#else // not DCNotchActivated
			*pOut1++ = (float32_t) *pIn++ /  MAX_UINT16 * window_value;
			*pOut2++ = (float32_t) *pIn++ /  MAX_UINT16 * window_value;
#endif
		}
		new_sample_to_process++;
	}
}

uint16_t num_to_fill;
uint16_t num_zeros;
uint16_t start_idx;
uint16_t freq_index;
uint32_t freq_index_uint32; // 32 to be compatible with arm
float32_t max_value;

uint16_t min_freq_index;
uint16_t max_freq_index;

// For propeller noise filtering:
uint16_t potential_indices[FFTSIZE]; // will only be partially filled.
uint16_t potential_count;
uint8_t min_fac;
float32_t const prop_factors[N_PROP_FACTORS] = { 0.5, 1, 1.5, 2, 3, 4, 5, 6, 7, 8, 9, 10, 11, 12, 13, 14, 15, 16, 17,
		18, 19, 20, 21, 22, 23, 24, 25, 26, 27, 28 };
int counter;
float32_t average_thrust;

void frequency_bin_selection(uint16_t *selected_indices) {

	freq_index = (uint16_t) round(current_frequency / DF);

	// return fixed frequency bins
	if (bin_selection == 3) {
		start_idx = 0;
		if (freq_index >= FFTSIZE_HALF) {
			start_idx = freq_index - FFTSIZE_HALF;
		}
		for (int i = start_idx; i < start_idx + FFTSIZE_SENT + 1; i++) {
			selected_indices[i - start_idx] = i;
		}
		return;
	}

	// This happens in the beginning only, afterwards it only happens if there
	// was faulty communication between the Crazyflie and Audio deck.
	if (min_freq >= max_freq) {
		return;
	}

	// TODO(FD): for the moment we just use the average thrust here. We could
	// also loop through all propeller frequencies and not use any of them,
	// that would be more appropriate if the thrust values vary a lot between motors.
	if (filter_prop_enable) {
		average_thrust = 0;
		counter = 0; // used to average only non-zero motors (e.g. for 1-motor experiments)

		// make sure to reset, otherwise we keep filtering out propellers noise
		// even when they are not turning anymore.
		prop_freq = 0;
		for (int i = 0; i < N_MOTORS; i++) {
			if (param_array[i] > 0) {
				average_thrust += (float32_t) param_array[i];
				counter++;
			}
		}
		// This was the old and potentially more general formula in general,
		// however it can be simplified for the range of thrust values of interest,
		// which is between 45000 and 55000:
		// prop_freq = 3.27258551 * sqrt(average_thrust) - 26.41814899;
		//
		// New formula:
		// f(45000) = 671, f(55000) = 750
		// prop_freq = (750 - 671) / (55000 - 45000) * (thrust - 45000) + 671
		// 0.0079 = (750 - 671) / (55000 - 45000), 315.5 = 671 - 0.0079 * 45000
		if (counter > 0) {
			average_thrust /= counter;
			prop_freq = 315.5 + 0.0079 * average_thrust;

		}
	}

	min_freq_index = (uint16_t) round(min_freq / DF);
	max_freq_index = (uint16_t) round(max_freq / DF);

	// Fill bin candidates with the available ones, after removing propeller frequencies.
	min_fac = 0;
	potential_count = 0;

	// TODO(FD): ideally, below should be i <= max_freq_index, but we leave it like this for consistency with previous measurements.
	for (int i = min_freq_index; i < max_freq_index; i++) {
		bool use_this = 1;
		if (filter_prop_enable) {
			for (uint8_t j = min_fac; j < N_PROP_FACTORS; j++) {
				if (fabs(((i * DF) - (prop_factors[j] * prop_freq))) < delta_freq) {
					use_this = false;

					// For the next potential bins we only need
					// to check starting from here, because they are increasing.
					min_fac = j;
					break;
				}
			}
		}
		if (use_this) {
			potential_indices[potential_count] = i;
			potential_count++;
		}
	}

	num_to_fill = min(potential_count, FFTSIZE_SENT);
	num_zeros = FFTSIZE_SENT - num_to_fill;
	start_idx = 0;

	if (bin_selection == 0) {
		float32_t decimation = (float32_t) potential_count / num_to_fill;
		for (int i = 0; i < num_to_fill; i++) {
			selected_indices[i] = potential_indices[(int) round(i * decimation)];
		}
		// what above corresponds to if potential_count <= FFTSIZE_SENT:
		//memcpy(selected_indices, potential_indices, num_to_fill * INT16_PRECISION);
	}

	else {
		start_idx = 0;
		// Put the buzzer frequency in the first bin, if requested
		if (bin_selection == 2) {
			selected_indices[0] = freq_index;
			start_idx = 1;
		}
		// Put the sorted frequencies in the next bins
		if (bin_selection >= 1) {
			struct index_amplitude sort_this[potential_count];

			for (int i = 0; i < potential_count; i++) {
				sort_this[i].amplitude = magnitude_mk2[potential_indices[i]];
				sort_this[i].index = potential_indices[i];
			}

			qsort(sort_this, potential_count, sizeof(sort_this[0]), compare_amplitudes);
			for (int i = start_idx; i < num_to_fill; i++) {
				selected_indices[i] = sort_this[i - start_idx].index;
			}
		}
	}

	// Fill remaining bins with zeros
	memset(&selected_indices[num_to_fill], 0x00, INT16_PRECISION * num_zeros);
}

uint8_t fill_tx_buffer() {
	// The buffer will be filled like
	// [m1_real[0], m2_real[0], m3_real[0], m4_real[0], m1_imag[0], m2_imag[0], m3_imag[0], m4_imag[0],
	//  m1_real[1], m2_real[1], m3_real[1], m4_real[1], m1_imag[1], m2_imag[1], m3_imag[1], m4_imag[1],
	//  ...
	//  m1_real[N], m2_real[N], m3_real[N], m4_real[N], m1_imag[N], m2_imag[N], m3_imag[N], m4_imag[N]]
	//  where N is FFTSIZE_SENT-1

	if (bin_selection < 5) {
		// MODE "32 Bins, with selection schemes"

		frequency_bin_selection(selected_indices);

		// TODO(FD) the plan here was to do an averaging, but we need to
		// decompose in magnitude and phase to do this, which is currently
		// out of the scope of this application. So instead we use the latest
		// value.

		i_array = 0;
		for (int i_fbin = 0; i_fbin < FFTSIZE_SENT; i_fbin++) {
			mics_f_all[i_array++] = mk1_f[N_COMPLEX * selected_indices[i_fbin]];
			mics_f_all[i_array++] = mk2_f[N_COMPLEX * selected_indices[i_fbin]];
			mics_f_all[i_array++] = mk3_f[N_COMPLEX * selected_indices[i_fbin]];
			mics_f_all[i_array++] = mk4_f[N_COMPLEX * selected_indices[i_fbin]];
			mics_f_all[i_array++] = mk1_f[N_COMPLEX * selected_indices[i_fbin] + 1];
			mics_f_all[i_array++] = mk2_f[N_COMPLEX * selected_indices[i_fbin] + 1];
			mics_f_all[i_array++] = mk3_f[N_COMPLEX * selected_indices[i_fbin] + 1];
			mics_f_all[i_array++] = mk4_f[N_COMPLEX * selected_indices[i_fbin] + 1];
		}

		// Fill buffer with audio data
		memcpy(spi_tx_buffer, mics_f_all, sizeof(mics_f_all));
		i_array = sizeof(mics_f_all);

		// Fill with bins indices
		memcpy(&spi_tx_buffer[i_array], selected_indices, sizeof(selected_indices));
		i_array += sizeof(selected_indices);

		// Fill with timestamp
		memcpy(&spi_tx_buffer[i_array], &timestamp, sizeof(timestamp));
		i_array += sizeof(timestamp);

		assert(i_array == SPI_N_BYTES - 1);
		spi_tx_buffer[SPI_N_BYTES - 1] = CHECKSUM_VALUE;

		// now we wait until this package is sent to play next note.
		return 1;
	} else {
		// MODE "ONE BUFFER, ONE SWEEP"

		// set the CHECKSUM to 0 so that if we communicate during filling, the package is not valid.
		spi_tx_buffer[SPI_N_BYTES - 1] = 0;

		freq_index = (uint16_t) round(current_frequency / DF);

		// Calculate current frequency of interest
		if (bin_selection == 6) {
			min_freq_index = max(freq_index - WINDOW_FREQS, 0);
			max_freq_index = min(freq_index + WINDOW_FREQS, FFTSIZE-1);

			arm_max_f32(
					&magnitude_mk2[min_freq_index],
					max_freq_index - min_freq_index - 1,
					&max_value,
					&freq_index_uint32
			);
			// no need to check for overflow because freq_index is smaller than FFTSIZE /2.
			freq_index = freq_index_uint32 + min_freq_index;
		}

		// Variable for memory indexing
		i_array = note_index * N_MICS * N_COMPLEX * FLOAT_PRECISION;

		// Fill buffer with audio data
		memcpy(&spi_tx_buffer[i_array], &mk1_f[N_COMPLEX * freq_index], FLOAT_PRECISION);
		i_array += FLOAT_PRECISION;
		memcpy(&spi_tx_buffer[i_array], &mk2_f[N_COMPLEX * freq_index], FLOAT_PRECISION);
		i_array += FLOAT_PRECISION;
		memcpy(&spi_tx_buffer[i_array], &mk3_f[N_COMPLEX * freq_index], FLOAT_PRECISION);
		i_array += FLOAT_PRECISION;
		memcpy(&spi_tx_buffer[i_array], &mk4_f[N_COMPLEX * freq_index], FLOAT_PRECISION);
		i_array += FLOAT_PRECISION;
		memcpy(&spi_tx_buffer[i_array], &mk1_f[N_COMPLEX * freq_index + 1], FLOAT_PRECISION);
		i_array += FLOAT_PRECISION;
		memcpy(&spi_tx_buffer[i_array], &mk2_f[N_COMPLEX * freq_index + 1], FLOAT_PRECISION);
		i_array += FLOAT_PRECISION;
		memcpy(&spi_tx_buffer[i_array], &mk3_f[N_COMPLEX * freq_index + 1], FLOAT_PRECISION);
		i_array += FLOAT_PRECISION;
		memcpy(&spi_tx_buffer[i_array], &mk4_f[N_COMPLEX * freq_index + 1], FLOAT_PRECISION);
		i_array += FLOAT_PRECISION;

		// Fill with bins indices
		memcpy(&spi_tx_buffer[AUDIO_N_BYTES + note_index * sizeof(freq_index)], &freq_index, sizeof(freq_index));

		// Activate Checksum only if sweep is completed
		if (note_index == melodies[melody_index].length - 1) {
			// Fill with timestamp
			memcpy(&spi_tx_buffer[AUDIO_N_BYTES + FBINS_N_BYTES], &timestamp, sizeof(timestamp));

			spi_tx_buffer[SPI_N_BYTES - 1] = CHECKSUM_VALUE;

			// wait for this to be sent.
			return 1;
		}
		return 0;
	}
}

void read_rx_buffer() {
	memcpy(param_array, spi_rx_buffer, sizeof(param_array));

	// Sometimes, because of faulty communication, the packet is broken and we get
	// impossible values for the parameters. In that case they should not be updated.
	if (param_array[N_MOTORS] >= param_array[N_MOTORS + 1])
		return;

	min_freq = param_array[N_MOTORS];
	max_freq = param_array[N_MOTORS + 1];
	buzzer_idx = param_array[N_MOTORS + 2];
	delta_freq = param_array[N_MOTORS + 3];
	n_average = param_array[N_MOTORS + 4];
	filter_prop_enable = param_array[N_MOTORS + 5];
	bin_selection = param_array[N_MOTORS + 6];

	// initialize everything if we have changed window.
	if (param_array[N_MOTORS + 7] != window_type) {
		window_type = param_array[N_MOTORS + 7];
		switch (window_type) {
		case 1:
			tapering_window = hann_window;
			break;
		case 2:
			tapering_window = flattop_window;
			break;
		case 3:
			tapering_window = tukey_window;
			break;
		default:
			break;
		}
		// reset the DC notch filter
#if DCNotchActivated
		DCNotch(0, 10);
#endif
	}
}

int compare_amplitudes(const void *a, const void *b) {
	struct index_amplitude *a1 = (struct index_amplitude*) a;
	struct index_amplitude *a2 = (struct index_amplitude*) b;
	if ((*a1).amplitude > (*a2).amplitude)
		return -1;
	else if ((*a1).amplitude < (*a2).amplitude)
		return 1;
	else
		return 0;
}

/* USER CODE END 4 */

void Error_Handler(void)
{
}

/************************ (C) COPYRIGHT STMicroelectronics *****END OF FILE****/
